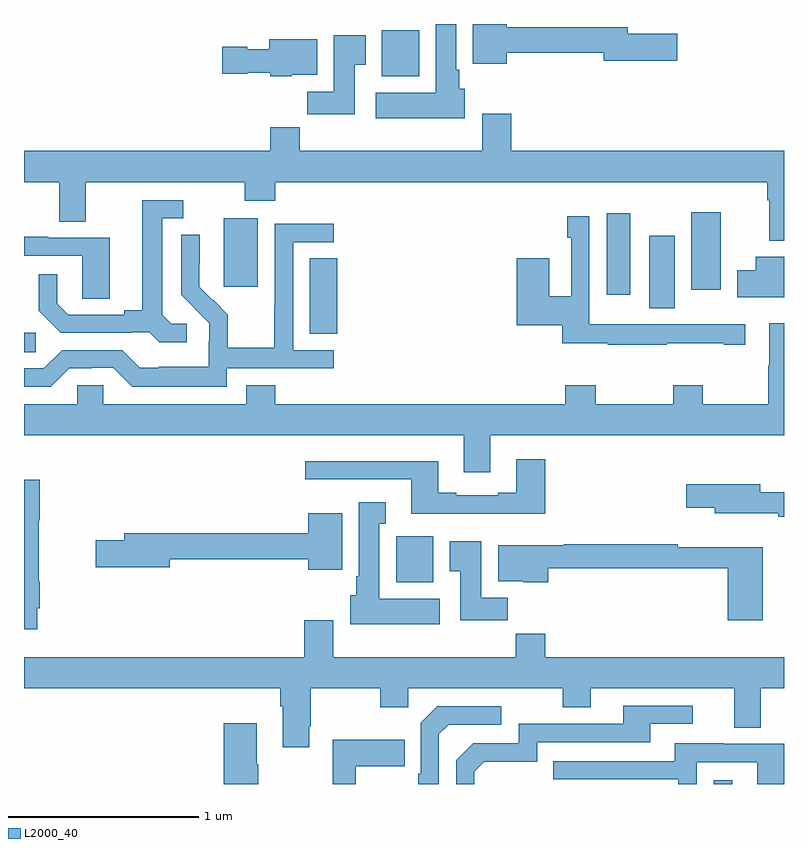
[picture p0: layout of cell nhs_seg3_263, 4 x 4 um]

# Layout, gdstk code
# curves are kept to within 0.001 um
import gdstk
lib = gdstk.Library(unit=1e-6, precision=1e-09)
def R(c, l, rs):  # rectangles x0, y0, x1, y1
    for r in rs: c.add(gdstk.rectangle(r[:2], r[2:], *l))
def P(c, l, *ps):  # polygons
    for p in ps: c.add(gdstk.Polygon(p, *l))
L2000_40 = (2000, 40)

nhs_seg3_263 = lib.new_cell('nhs_seg3_263')
R(nhs_seg3_263, L2000_40, [(126.63,712.4,126.727,712.42), (124.958,713.462,125.155,713.704), (123,714.673,123.061,714.774), (124.505,714.769,124.649,715.166), (126.29,714.904,126.424,715.285), (126.068,714.975,126.19,715.405), (126.512,715.002,126.667,715.408), (124.052,715.017,124.231,715.378), (124.883,716.126,125.08,716.368)])
P(nhs_seg3_263, L2000_40, [(125.32,716.058),(125.29,716.058),(125.29,716.158),(125.275,716.158),(125.275,716.4),(125.168,716.4),(125.168,716.038),(124.851,716.038),(124.851,715.904),(125.32,715.904)],
  [(125.542,716.248),(126.05,716.248),(126.05,716.206),(126.439,716.206),(126.439,716.348),(126.178,716.348),(126.178,716.384),(125.542,716.384),(125.542,716.4),(125.363,716.4),(125.363,716.192),(125.542,716.192)],
  [(124.741,716.185),(124.798,716.185),(124.798,716.341),(124.631,716.341),(124.631,716.044),(124.492,716.044),(124.492,715.926),(124.741,715.926)],
  [(124.41,716.132),(124.543,716.132),(124.543,716.32),(124.292,716.32),(124.292,716.266),(124.176,716.266),(124.176,716.279),(124.044,716.279),(124.044,716.137),(124.176,716.137),(124.176,716.144),(124.296,716.144),(124.296,716.126),(124.41,716.126)],
  [(127,715.732),(125.564,715.732),(125.564,715.927),(125.411,715.927),(125.411,715.732),(124.451,715.732),(124.451,715.856),(124.295,715.856),(124.295,715.732),(123,715.732),(123,715.568),(123.185,715.568),(123.185,715.36),(123.325,715.36),(123.325,715.568),(124.162,715.568),(124.162,715.469),(124.322,715.469),(124.322,715.568),(126.911,715.568),(126.911,715.472),(126.923,715.472),(126.923,715.259),(127,715.259)],
  [(123.856,714.822),(123.774,714.822),(123.727,714.869),(123.727,715.377),(123.838,715.377),(123.838,715.473),(123.623,715.473),(123.623,714.893),(123.527,714.893),(123.527,714.87),(123.232,714.87),(123.175,714.927),(123.175,715.084),(123.078,715.084),(123.078,714.89),(123.194,714.774),(123.566,714.774),(123.566,714.777),(123.66,714.777),(123.712,714.725),(123.856,714.725)],
  [(126.383,714.721),(126.683,714.721),(126.683,714.711),(126.796,714.711),(126.796,714.821),(126.52,714.821),(126.52,714.819),(126.186,714.819),(126.186,714.82),(125.976,714.82),(125.976,715.387),(125.86,715.387),(125.86,715.274),(125.88,715.274),(125.88,714.968),(125.764,714.968),(125.764,715.168),(125.594,715.168),(125.594,714.815),(125.834,714.815),(125.834,714.721),(126.073,714.721),(126.073,714.711),(126.383,714.711)],
  [(124.068,714.588),(124.63,714.588),(124.63,714.684),(124.416,714.684),(124.416,715.251),(124.63,715.251),(124.63,715.35),(124.32,715.35),(124.32,714.92),(124.318,714.92),(124.318,714.697),(124.073,714.697),(124.073,714.871),(123.996,714.948),(123.993,714.945),(123.923,715.016),(123.924,715.292),(123.828,715.292),(123.828,714.974),(123.974,714.826),(123.974,714.729),(123.972,714.729),(123.972,714.595),(123.709,714.595),(123.709,714.591),(123.609,714.591),(123.516,714.684),(123.201,714.684),(123.105,714.588),(123,714.588),(123,714.492),(123.141,714.492),(123.237,714.588),(123.356,714.588),(123.356,714.591),(123.471,714.591),(123.571,714.491),(124.068,714.491)],
  [(123.451,715.275),(123.127,715.275),(123.127,715.279),(123,715.279),(123,715.179),(123.306,715.179),(123.306,714.955),(123.451,714.955)],
  [(127,715.174),(126.851,715.174),(126.851,715.104),(126.755,715.104),(126.755,714.962),(127,714.962)],
  [(125.455,714.236),(127,714.236),(127,714.826),(126.923,714.826),(126.923,714.605),(126.916,714.605),(126.916,714.4),(126.573,714.4),(126.573,714.499),(126.418,714.499),(126.418,714.4),(126.009,714.4),(126.009,714.499),(125.849,714.499),(125.849,714.4),(124.322,714.4),(124.322,714.499),(124.169,714.499),(124.169,714.4),(123.417,714.4),(123.417,714.498),(123.279,714.498),(123.279,714.4),(123,714.4),(123,714.236),(125.315,714.236),(125.315,714.042),(125.455,714.042)],
  [(125.744,714.109),(125.591,714.109),(125.591,713.932),(125.495,713.932),(125.495,713.919),(125.275,713.919),(125.275,713.932),(125.179,713.932),(125.179,714.1),(124.479,714.1),(124.479,714.003),(125.039,714.003),(125.039,713.822),(125.744,713.822)],
  [(123.07,713.326),(123.083,713.326),(123.083,713.466),(123.078,713.466),(123.078,713.788),(123.083,713.788),(123.083,714.001),(123,714.001),(123,713.214),(123.07,713.214)],
  [(127,713.935),(126.874,713.935),(126.874,713.977),(126.486,713.977),(126.486,713.855),(126.635,713.855),(126.635,713.825),(126.97,713.825),(126.97,713.806),(127,713.806)],
  [(125.188,713.374),(124.87,713.374),(124.87,713.771),(124.903,713.771),(124.903,713.884),(124.763,713.884),(124.763,713.494),(124.748,713.494),(124.748,713.394),(124.718,713.394),(124.718,713.24),(125.188,713.24)],
  [(124.675,713.824),(124.496,713.824),(124.496,713.72),(123.527,713.72),(123.527,713.684),(123.378,713.684),(123.378,713.542),(123.766,713.542),(123.766,713.584),(124.496,713.584),(124.496,713.528),(124.675,713.528)],
  [(125.546,713.38),(125.407,713.38),(125.407,713.677),(125.24,713.677),(125.24,713.521),(125.297,713.521),(125.297,713.262),(125.546,713.262)],
  [(126.887,713.645),(126.44,713.645),(126.44,713.663),(125.842,713.663),(125.842,713.656),(125.495,713.656),(125.495,713.468),(125.628,713.468),(125.628,713.462),(125.759,713.462),(125.759,713.535),(126.704,713.535),(126.704,713.262),(126.887,713.262)],
  [(124.501,712.705),(124.509,712.705),(124.509,712.904),(124.876,712.904),(124.876,712.805),(125.022,712.805),(125.022,712.904),(125.836,712.904),(125.836,712.805),(125.983,712.805),(125.983,712.904),(126.737,712.904),(126.737,712.696),(126.877,712.696),(126.877,712.904),(127,712.904),(127,713.068),(125.744,713.068),(125.744,713.192),(125.587,713.192),(125.587,713.068),(124.627,713.068),(124.627,713.263),(124.475,713.263),(124.475,713.068),(123,713.068),(123,712.904),(124.349,712.904),(124.349,712.808),(124.361,712.808),(124.361,712.593),(124.501,712.593)],
  [(125.37,712.464),(125.423,712.517),(125.7,712.517),(125.7,712.62),(126.295,712.62),(126.295,712.716),(126.52,712.716),(126.52,712.812),(126.155,712.812),(126.155,712.716),(125.604,712.716),(125.604,712.614),(125.364,712.614),(125.274,712.524),(125.274,712.4),(125.37,712.4)],
  [(125.184,712.662),(125.235,712.713),(125.512,712.713),(125.512,712.809),(125.175,712.809),(125.088,712.722),(125.088,712.453),(125.076,712.453),(125.076,712.4),(125.184,712.4)],
  [(124.233,712.505),(124.225,712.505),(124.225,712.72),(124.052,712.72),(124.052,712.4),(124.233,712.4)],
  [(124.747,712.493),(125.003,712.493),(125.003,712.633),(124.626,712.633),(124.626,712.4),(124.747,712.4)],
  [(126.54,712.515),(126.858,712.515),(126.858,712.4),(127,712.4),(127,712.611),(126.679,712.611),(126.679,712.615),(126.425,712.615),(126.425,712.521),(125.785,712.521),(125.785,712.425),(126.444,712.425),(126.444,712.4),(126.54,712.4)])

lib.write_gds('nhs_seg3_263.gds')
